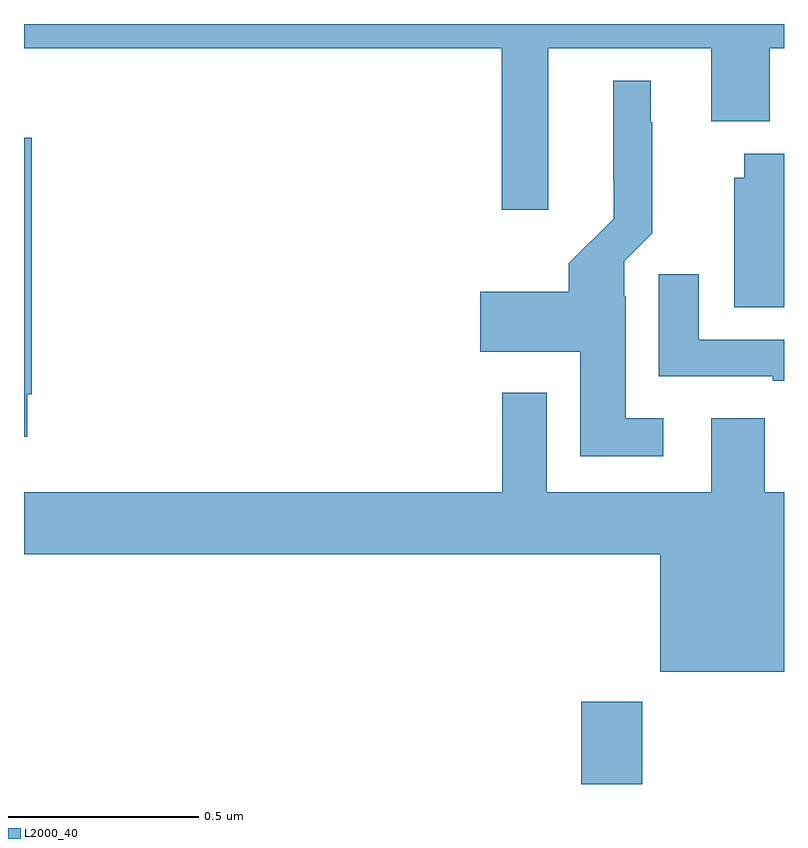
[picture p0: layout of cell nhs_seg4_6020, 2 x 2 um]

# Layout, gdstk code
import gdstk
lib = gdstk.Library(unit=1e-6, precision=1e-09)
def R(c, l, rs):  # rectangles x0, y0, x1, y1
    for r in rs: c.add(gdstk.rectangle(r[:2], r[2:], *l))
def P(c, l, *ps):  # polygons
    for p in ps: c.add(gdstk.Polygon(p, *l))
L2000_40 = (2000, 40)

nhs_seg4_6020 = lib.new_cell('nhs_seg4_6020')
R(nhs_seg4_6020, L2000_40, [(186.467,778.9,186.627,779.116)])
P(nhs_seg4_6020, L2000_40, [(185,780.836),(186.257,780.836),(186.257,780.411),(186.379,780.411),(186.379,780.836),(186.809,780.836),(186.809,780.644),(186.962,780.644),(186.962,780.836),(187,780.836),(187,780.9),(185,780.9)],
  [(186.682,779.863),(186.583,779.863),(186.583,780.182),(186.579,780.182),(186.579,780.276),(186.653,780.35),(186.653,780.641),(186.649,780.641),(186.649,780.751),(186.551,780.751),(186.551,780.49),(186.552,780.49),(186.552,780.388),(186.434,780.27),(186.434,780.196),(186.201,780.196),(186.201,780.038),(186.464,780.038),(186.464,779.762),(186.682,779.762)],
  [(185.008,779.926),(185.021,779.926),(185.021,780.601),(185,780.601),(185,779.814),(185.008,779.814)],
  [(187,780.559),(186.896,780.559),(186.896,780.495),(186.869,780.495),(186.869,780.154),(187,780.154)],
  [(187,780.069),(186.775,780.069),(186.775,780.241),(186.671,780.241),(186.671,779.973),(186.971,779.973),(186.971,779.961),(187,779.961)],
  [(187,779.668),(186.949,779.668),(186.949,779.863),(186.809,779.863),(186.809,779.668),(186.375,779.668),(186.375,779.929),(186.259,779.929),(186.259,779.668),(185,779.668),(185,779.504),(186.674,779.504),(186.674,779.195),(187,779.195)])

lib.write_gds('nhs_seg4_6020.gds')
